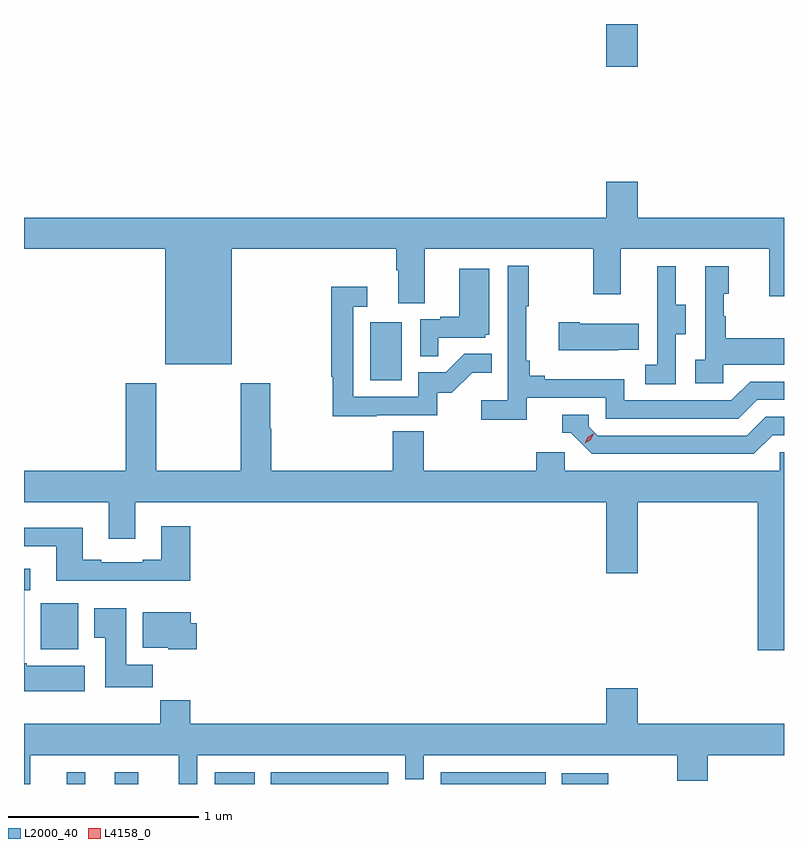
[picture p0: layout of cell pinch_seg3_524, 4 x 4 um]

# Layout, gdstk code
import gdstk
lib = gdstk.Library(unit=1e-6, precision=1e-09)
def R(c, l, rs):  # rectangles x0, y0, x1, y1
    for r in rs: c.add(gdstk.rectangle(r[:2], r[2:], *l))
def P(c, l, *ps):  # polygons
    for p in ps: c.add(gdstk.Polygon(p, *l))
L2000_40 = (2000, 40)
L4158_0 = (4158, 0)

pinch_seg3_524 = lib.new_cell('pinch_seg3_524')
R(pinch_seg3_524, L2000_40, [(1133.195,704.76,1133.293,704.821), (1133.448,704.76,1133.572,704.821), (1133.976,704.76,1134.185,704.823), (1134.27,704.76,1134.888,704.823), (1135.164,704.76,1135.716,704.823), (1135.801,704.76,1136.047,704.817), (1133.06,705.47,1133.257,705.712), (1134.794,706.884,1134.958,707.191), (1136.036,708.534,1136.2,708.76)])
P(pinch_seg3_524, L2000_40, [(1134.064,707.576),(1134.929,707.576),(1134.929,707.464),(1134.941,707.464),(1134.941,707.29),(1135.081,707.29),(1135.081,707.576),(1135.966,707.576),(1135.966,707.337),(1136.113,707.337),(1136.113,707.576),(1136.894,707.576),(1136.894,707.328),(1136.971,707.328),(1136.971,707.74),(1136.2,707.74),(1136.2,707.929),(1136.036,707.929),(1136.036,707.74),(1132.971,707.74),(1132.971,707.576),(1133.714,707.576),(1133.714,706.97),(1134.064,706.97)],
  [(1135.616,706.794),(1136.034,706.794),(1136.034,706.683),(1136.731,706.683),(1136.83,706.782),(1136.971,706.782),(1136.971,706.878),(1136.793,706.878),(1136.694,706.779),(1136.13,706.779),(1136.13,706.891),(1135.711,706.891),(1135.711,706.91),(1135.634,706.91),(1135.634,706.987),(1135.615,706.987),(1135.615,707.275),(1135.627,707.275),(1135.627,707.488),(1135.518,707.488),(1135.518,706.78),(1135.377,706.78),(1135.377,706.678),(1135.616,706.678)],
  [(1136.4,707.128),(1136.455,707.128),(1136.455,707.283),(1136.401,707.283),(1136.401,707.485),(1136.303,707.485),(1136.303,707.271),(1136.304,707.271),(1136.304,706.967),(1136.241,706.967),(1136.241,706.864),(1136.4,706.864)],
  [(1136.652,706.967),(1136.971,706.967),(1136.971,707.107),(1136.665,707.107),(1136.665,707.222),(1136.655,707.222),(1136.655,707.34),(1136.68,707.34),(1136.68,707.485),(1136.556,707.485),(1136.556,706.994),(1136.505,706.994),(1136.505,706.869),(1136.652,706.869)],
  [(1135.151,707.109),(1135.398,707.109),(1135.398,707.124),(1135.42,707.124),(1135.42,707.473),(1135.262,707.473),(1135.262,707.218),(1135.163,707.218),(1135.163,707.205),(1135.056,707.205),(1135.056,707.011),(1135.151,707.011)],
  [(1134.827,706.701),(1135.146,706.701),(1135.146,706.818),(1135.222,706.818),(1135.329,706.925),(1135.433,706.925),(1135.433,707.024),(1135.289,707.024),(1135.191,706.926),(1135.047,706.926),(1135.047,706.797),(1134.705,706.797),(1134.705,707.271),(1134.778,707.271),(1134.778,707.377),(1134.589,707.377),(1134.589,706.904),(1134.597,706.904),(1134.597,706.696),(1134.827,706.696)],
  [(1136.099,707.045),(1136.207,707.045),(1136.207,707.182),(1135.897,707.182),(1135.897,707.19),(1135.785,707.19),(1135.785,707.042),(1136.099,707.042)],
  [(1136.971,706.506),(1136.949,706.506),(1136.949,706.408),(1135.818,706.408),(1135.818,706.506),(1135.667,706.506),(1135.667,706.408),(1135.076,706.408),(1135.076,706.616),(1134.911,706.616),(1134.911,706.408),(1134.272,706.408),(1134.272,706.631),(1134.267,706.631),(1134.267,706.87),(1134.112,706.87),(1134.112,706.408),(1133.667,706.408),(1133.667,706.87),(1133.507,706.87),(1133.507,706.408),(1132.971,706.408),(1132.971,706.244),(1133.417,706.244),(1133.417,706.05),(1133.557,706.05),(1133.557,706.244),(1136.036,706.244),(1136.036,705.87),(1136.2,705.87),(1136.2,706.244),(1136.834,706.244),(1136.834,705.465),(1136.971,705.465)],
  [(1136.911,706.596),(1136.971,706.596),(1136.971,706.692),(1136.874,706.692),(1136.775,706.593),(1135.992,706.593),(1135.944,706.641),(1135.944,706.704),(1135.805,706.704),(1135.805,706.608),(1135.848,706.608),(1135.959,706.497),(1136.812,706.497)],
  [(1133.846,706.117),(1133.693,706.117),(1133.693,705.94),(1133.597,705.94),(1133.597,705.927),(1133.377,705.927),(1133.377,705.94),(1133.281,705.94),(1133.281,706.108),(1132.971,706.108),(1132.971,706.011),(1133.141,706.011),(1133.141,705.83),(1133.846,705.83)],
  [(1133.29,705.382),(1132.986,705.382),(1132.986,705.396),(1132.972,705.396),(1132.972,705.779),(1133.005,705.779),(1133.005,705.892),(1132.971,705.892),(1132.971,705.248),(1133.29,705.248)],
  [(1133.648,705.388),(1133.509,705.388),(1133.509,705.685),(1133.342,705.685),(1133.342,705.529),(1133.399,705.529),(1133.399,705.27),(1133.648,705.27)],
  [(1133.879,705.606),(1133.848,705.606),(1133.848,705.664),(1133.597,705.664),(1133.597,705.476),(1133.73,705.476),(1133.73,705.47),(1133.879,705.47)],
  [(1133.005,704.912),(1133.786,704.912),(1133.786,704.76),(1133.883,704.76),(1133.883,704.912),(1134.978,704.912),(1134.978,704.785),(1135.074,704.785),(1135.074,704.912),(1136.41,704.912),(1136.41,704.777),(1136.57,704.777),(1136.57,704.912),(1136.971,704.912),(1136.971,705.076),(1136.2,705.076),(1136.2,705.265),(1136.036,705.265),(1136.036,705.076),(1133.846,705.076),(1133.846,705.2),(1133.689,705.2),(1133.689,705.076),(1132.971,705.076),(1132.971,704.76),(1133.005,704.76)])
P(pinch_seg3_524, L4158_0, [(1135.922,706.554),(1135.922,706.554),(1135.939,706.586),(1135.97,706.606),(1135.97,706.606),(1135.97,706.605),(1135.953,706.573),(1135.922,706.554)])

lib.write_gds('pinch_seg3_524.gds')
